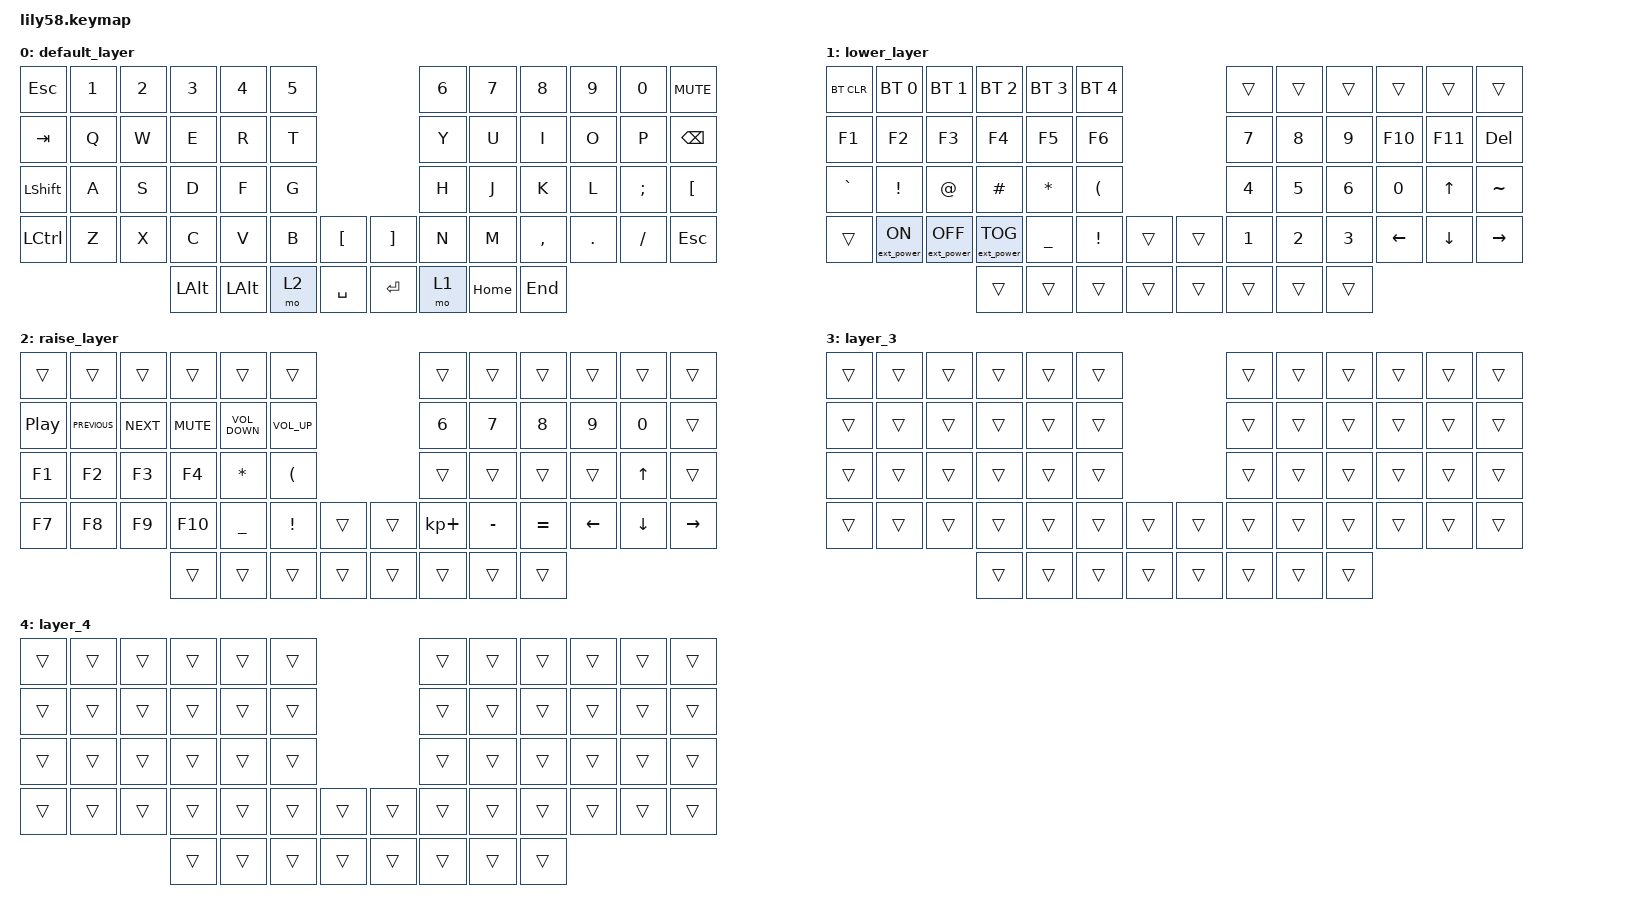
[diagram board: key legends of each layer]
/*
 * Copyright (c) 2020 The ZMK Contributors
 *
 * SPDX-License-Identifier: MIT
 */

#include <behaviors.dtsi>
#include <dt-bindings/zmk/bt.h>
#include <dt-bindings/zmk/ext_power.h>
#include <dt-bindings/zmk/keys.h>

/ {
    keymap {
        compatible = "zmk,keymap";

        default_layer {
            // ------------------------------------------------------------------------------------------------------------
            // |  ESC  |  1  |  2  |  3   |  4   |  5   |                   |  6   |  7    |  8    |  9   |   0   |   `   |
            // |  TAB  |  Q  |  W  |  E   |  R   |  T   |                   |  Y   |  U    |  I    |  O   |   P   |   -   |
            // |  CTRL |  A  |  S  |  D   |  F   |  G   |                   |  H   |  J    |  K    |  L   |   ;   |   '   |
            // | SHIFT |  Z  |  X  |  C   |  V   |  B   |   "["  |  |  "]"  |  N   |  M    |  ,    |  .   |   /   | SHIFT |
            //                     | ALT  | GUI  | LOWER|  SPACE |  | ENTER | RAISE| BSPC  | GUI   |

            bindings = <
&kp ESC    &kp N1  &kp N2  &kp N3    &kp N4    &kp N5                         &kp N6  &kp N7    &kp N8     &kp N9   &kp N0    &kp C_MUTE
&kp TAB    &kp Q   &kp W   &kp E     &kp R     &kp T                          &kp Y   &kp U     &kp I      &kp O    &kp P     &kp BACKSPACE
&kp LSHFT  &kp A   &kp S   &kp D     &kp F     &kp G                          &kp H   &kp J     &kp K      &kp L    &kp SEMI  &kp LBKT
&kp LCTRL  &kp Z   &kp X   &kp C     &kp V     &kp B   &kp LBKT     &kp RBKT  &kp N   &kp M     &kp COMMA  &kp DOT  &kp FSLH  &kp ESC
                           &kp LALT  &kp LALT  &mo 2   &kp SPACE    &kp RET   &mo 1   &kp HOME  &kp END
            >;
        };

        lower_layer {
            // ------------------------------------------------------------------------------------------------------------
            // | BTCLR | BT1 | BT2 |  BT3 |  BT4 |  BT5 |                   |      |       |       |      |       |       |
            // |  F1   |  F2 |  F3 |  F4  |  F5  |  F6  |                   |  F7  |  F8   |  F9   |  F10 |  F11  |  F12  |
            // |   `   |  !  |  @  |  #   |  $   |  %   |                   |  ^   |  &    |  *    |  (   |   )   |   ~   |
            // |       |     |     |      |      |      |        |  |       |      |  _    |  +    |  {   |   }   |  "|"  |
            //                     |      |      |      |        |  |       |      |       |       |

            bindings = <
&bt BT_CLR  &bt BT_SEL 0      &bt BT_SEL 1       &bt BT_SEL 2       &bt BT_SEL 3  &bt BT_SEL 4                            &trans        &trans  &trans        &trans    &trans        &trans
&kp F1      &kp F2            &kp F3             &kp F4             &kp F5        &kp F6                                  &kp NUMBER_7  &kp N8  &kp N9        &kp F10   &kp F11       &kp DELETE
&kp GRAVE   &kp EXCL          &kp AT             &kp HASH           &kp ASTRK     &kp LEFT_PARENTHESIS                    &kp NUMBER_4  &kp N5  &kp NUMBER_6  &kp N0    &kp UP_ARROW  &kp TILDE
&trans      &ext_power EP_ON  &ext_power EP_OFF  &ext_power EP_TOG  &kp UNDER     &kp EXCL              &trans    &trans  &kp N1        &kp N2  &kp N3        &kp LEFT  &kp DOWN      &kp RIGHT
                                                 &trans             &trans        &trans                &trans    &trans  &trans        &trans  &trans
            >;
        };

        raise_layer {
            // ------------------------------------------------------------------------------------------------------------
            // |       |     |     |      |      |      |                   |      |       |       |      |       |       |
            // |   `   |  1  |  2  |  3   |  4   |  5   |                   |  6   |   7   |   8   |  9   |   0   |       |
            // |   F1  |  F2 |  F3 |  F4  |  F5  |  F6  |                   |      |   <-  |   v   |  ^   |  ->   |       |
            // |   F7  |  F8 |  F9 |  F10 |  F11 |  F12 |        |  |       |  +   |   -   |   =   |  [   |   ]   |   \   |
            //                     |      |      |      |        |  |       |      |       |       |

            bindings = <
&trans            &trans          &trans      &trans      &trans             &trans                                  &trans       &trans     &trans     &trans    &trans        &trans
&kp C_PLAY_PAUSE  &kp C_PREVIOUS  &kp C_NEXT  &kp C_MUTE  &kp C_VOLUME_DOWN  &kp C_VOL_UP                            &kp N6       &kp N7     &kp N8     &kp N9    &kp N0        &trans
&kp F1            &kp F2          &kp F3      &kp F4      &kp ASTRK          &kp LEFT_PARENTHESIS                    &trans       &trans     &trans     &trans    &kp UP_ARROW  &trans
&kp F7            &kp F8          &kp F9      &kp F10     &kp UNDER          &kp EXCL              &trans    &trans  &kp KP_PLUS  &kp MINUS  &kp EQUAL  &kp LEFT  &kp DOWN      &kp RIGHT
                                              &trans      &trans             &trans                &trans    &trans  &trans       &trans     &trans
            >;
        };

        layer_3 {
            bindings = <
&trans  &trans  &trans  &trans  &trans  &trans                    &trans  &trans  &trans  &trans  &trans  &trans
&trans  &trans  &trans  &trans  &trans  &trans                    &trans  &trans  &trans  &trans  &trans  &trans
&trans  &trans  &trans  &trans  &trans  &trans                    &trans  &trans  &trans  &trans  &trans  &trans
&trans  &trans  &trans  &trans  &trans  &trans  &trans    &trans  &trans  &trans  &trans  &trans  &trans  &trans
                        &trans  &trans  &trans  &trans    &trans  &trans  &trans  &trans
            >;
        };

        layer_4 {
            bindings = <
&trans  &trans  &trans  &trans  &trans  &trans                    &trans  &trans  &trans  &trans  &trans  &trans
&trans  &trans  &trans  &trans  &trans  &trans                    &trans  &trans  &trans  &trans  &trans  &trans
&trans  &trans  &trans  &trans  &trans  &trans                    &trans  &trans  &trans  &trans  &trans  &trans
&trans  &trans  &trans  &trans  &trans  &trans  &trans    &trans  &trans  &trans  &trans  &trans  &trans  &trans
                        &trans  &trans  &trans  &trans    &trans  &trans  &trans  &trans
            >;
        };
    };

    conditional_layers {
        compatible = "zmk,conditional-layers";

        a3rdLayer {
            if-layers = <1 2>;
            then-layer = <3>;
        };
    };
};
